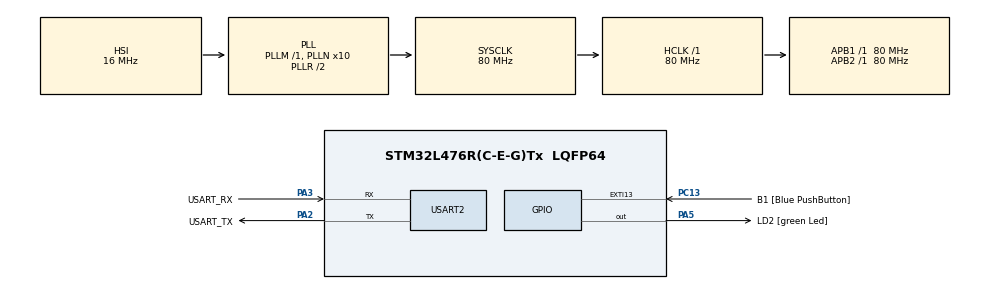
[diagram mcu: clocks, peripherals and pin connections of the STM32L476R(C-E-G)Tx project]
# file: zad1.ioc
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ARM.CMSIS-DSP.1.16.2.CMSISJjDSP=Source
ARM.CMSIS.6.2.0.CMSISJjCORE=true
Mcu.Family=STM32L4
Mcu.Name=STM32L476R(C-E-G)Tx
Mcu.Package=LQFP64
NVIC.PriorityGroup=NVIC_PRIORITYGROUP_4
PA13\ (JTMS-SWDIO).GPIO_Label=TMS
PA13\ (JTMS-SWDIO).Mode=Serial_Wire
PA13\ (JTMS-SWDIO).Signal=SYS_JTMS-SWDIO
PA14\ (JTCK-SWCLK).GPIO_Label=TCK
PA14\ (JTCK-SWCLK).Mode=Serial_Wire
PA14\ (JTCK-SWCLK).Signal=SYS_JTCK-SWCLK
PA2.GPIO_Label=USART_TX
PA2.GPIO_Mode=GPIO_MODE_AF_PP
PA2.GPIO_PuPd=GPIO_NOPULL
PA2.GPIO_Speed=GPIO_SPEED_FREQ_VERY_HIGH
PA2.Mode=Asynchronous
PA2.Signal=USART2_TX
PA3.GPIO_Label=USART_RX
PA3.GPIO_Mode=GPIO_MODE_AF_PP
PA3.GPIO_PuPd=GPIO_NOPULL
PA3.GPIO_Speed=GPIO_SPEED_FREQ_VERY_HIGH
PA3.Mode=Asynchronous
PA3.Signal=USART2_RX
PA5.GPIO_Label=LD2 [green Led]
PA5.GPIO_ModeDefaultOutputPP=GPIO_MODE_OUTPUT_PP
PA5.GPIO_PuPd=GPIO_NOPULL
PA5.GPIO_Speed=GPIO_SPEED_FREQ_LOW
PA5.Signal=GPIO_Output
PB3\ (JTDO-TRACESWO).GPIO_Label=SWO
PB3\ (JTDO-TRACESWO).Signal=SYS_JTDO-SWO
PC13.GPIO_Label=B1 [Blue PushButton]
PC13.GPIO_ModeDefaultEXTI=GPIO_MODE_IT_FALLING
PC13.GPIO_PuPd=GPIO_NOPULL
PC13.Signal=GPXTI13
PC14-OSC32_IN\ (PC14).Mode=LSE-External-Oscillator
PC14-OSC32_IN\ (PC14).Signal=RCC_OSC32_IN
PC15-OSC32_OUT\ (PC15).Mode=LSE-External-Oscillator
PC15-OSC32_OUT\ (PC15).Signal=RCC_OSC32_OUT
PH0-OSC_IN\ (PH0).Signal=RCC_OSC_IN
PH1-OSC_OUT\ (PH1).Signal=RCC_OSC_OUT
ProjectManager.HeapSize=0x200
ProjectManager.StackSize=0x400
ProjectManager.TargetToolchain=STM32CubeIDE
RCC.ADCFreq_Value=64000000
RCC.AHBFreq_Value=80000000
RCC.APB1Freq_Value=80000000
RCC.APB1TimFreq_Value=80000000
RCC.APB2Freq_Value=80000000
RCC.APB2TimFreq_Value=80000000
RCC.CortexFreq_Value=80000000
RCC.HCLKFreq_Value=80000000
RCC.HSE_VALUE=8000000
RCC.HSI_VALUE=16000000
RCC.MSI_VALUE=4000000
RCC.PLLN=10
RCC.PLLSourceVirtual=RCC_PLLSOURCE_HSI
RCC.PREFETCH_ENABLE=1
RCC.SYSCLKFreq_VALUE=80000000
RCC.SYSCLKSource=RCC_SYSCLKSOURCE_PLLCLK
RCC.USBFreq_Value=64000000
RCC.VCOOutputFreq_Value=160000000
USART2.VirtualMode-Asynchronous=VM_ASYNC
VP_ARM.CMSIS-DSP_VS_CMSISJjDSP_1.16.2_1.16.2.Mode=CMSISJjDSP
VP_ARM.CMSIS_VS_CMSISJjCORE_6.1.1_6.2.0.Mode=CMSISJjCORE
board=NUCLEO-L476RG

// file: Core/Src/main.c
/* USER CODE BEGIN Header */
/**
  ******************************************************************************
  * @file           : main.c
  * @brief          : Main program body
  ******************************************************************************
  * @attention
  *
  * Copyright (c) 2025 STMicroelectronics.
  * All rights reserved.
  *
  * This software is licensed under terms that can be found in the LICENSE file
  * in the root directory of this software component.
  * If no LICENSE file comes with this software, it is provided AS-IS.
  *
  ******************************************************************************
  */
/* USER CODE END Header */
#include "main.h"
#include "usart.h"
#include "gpio.h"

/* USER CODE BEGIN Includes */
#include "arm_math.h"
#include <math.h>
#include <stdio.h>
#include "A_mat.h"
#include "B_mat.h"
#include "C_mat.h"
#include "C_REF_mat.h"

/* USER CODE END Includes */

/* USER CODE BEGIN PD */
#define MATRIX_COLUMNS 4
#define MATRIX_ROWS 4
#define RMSE_TOL 1e-6f

/* USER CODE END PD */

void SystemClock_Config(void);

/* USER CODE BEGIN 0 */
int __io_putchar(char ch)
{
	uint8_t chx;
	if(ch == '\n')
	{
		chx = '\r';
		HAL_UART_Transmit(&huart2, &chx, 1, HAL_MAX_DELAY);
	}
	chx = ch;
	HAL_UART_Transmit(&huart2, &chx, 1, HAL_MAX_DELAY);
	return 1;
}

float32_t RMSE ( const float32_t * y , const float32_t * yref , const uint32_t len )
{
	float32_t err [ len ];
	arm_sub_f32 ( yref , y , err , len ) ;
	float32_t rmse ;
	arm_rms_f32 ( err , len , & rmse ) ;
	return rmse ;
}

/* USER CODE END 0 */

int main(void)
{

  /* MCU Configuration--------------------------------------------------------*/

  /* Reset of all peripherals, Initializes the Flash interface and the Systick. */
  HAL_Init();

  /* Configure the system clock */
  SystemClock_Config();

  /* Initialize all configured peripherals */
  MX_GPIO_Init();
  MX_USART2_UART_Init();
  /* USER CODE BEGIN 2 */

  arm_mat_init_f32(&A, A_ROWS, A_COLS , (float32_t*)A_DATA);
  arm_mat_init_f32(&B, B_ROWS, B_COLS, (float32_t*)B_DATA);
  arm_mat_init_f32(&C, C_ROWS, C_COLS, (float32_t*)C_DATA);

  arm_status status = arm_mat_mult_f32(&A, &B, &C);
  float32_t rmse = RMSE(C_DATA,C_REF_DATA, C_ROWS);

  printf("CMSIS result:\n");
  for(int i = 0; i < C_ROWS; i++)
  {
	  printf("%f\n", C_DATA[i]);
  }
  printf("RMSE = %f\n",rmse);

  if(status == ARM_MATH_SUCCESS && rmse < RMSE_TOL)
  {
	  printf("TEST ZAKONCZONY SUKCESEM\n");
  }
  else
  {
	  printf("TEST ZAKONCZONY NIEPOWODZENIEM\n");
  }
  /* USER CODE END 2 */

  /* Infinite loop */
  while (1)
  {

  }
}

void SystemClock_Config(void)
{
  RCC_OscInitTypeDef RCC_OscInitStruct = {0};
  RCC_ClkInitTypeDef RCC_ClkInitStruct = {0};

  /** Configure the main internal regulator output voltage
  */
  if (HAL_PWREx_ControlVoltageScaling(PWR_REGULATOR_VOLTAGE_SCALE1) != HAL_OK)
  {
    Error_Handler();
  }

  /** Initializes the RCC Oscillators according to the specified parameters
  * in the RCC_OscInitTypeDef structure.
  */
  RCC_OscInitStruct.OscillatorType = RCC_OSCILLATORTYPE_HSI;
  RCC_OscInitStruct.HSIState = RCC_HSI_ON;
  RCC_OscInitStruct.HSICalibrationValue = RCC_HSICALIBRATION_DEFAULT;
  RCC_OscInitStruct.PLL.PLLState = RCC_PLL_ON;
  RCC_OscInitStruct.PLL.PLLSource = RCC_PLLSOURCE_HSI;
  RCC_OscInitStruct.PLL.PLLM = 1;
  RCC_OscInitStruct.PLL.PLLN = 10;
  RCC_OscInitStruct.PLL.PLLP = RCC_PLLP_DIV7;
  RCC_OscInitStruct.PLL.PLLQ = RCC_PLLQ_DIV2;
  RCC_OscInitStruct.PLL.PLLR = RCC_PLLR_DIV2;
  if (HAL_RCC_OscConfig(&RCC_OscInitStruct) != HAL_OK)
  {
    Error_Handler();
  }

  /** Initializes the CPU, AHB and APB buses clocks
  */
  RCC_ClkInitStruct.ClockType = RCC_CLOCKTYPE_HCLK|RCC_CLOCKTYPE_SYSCLK
                              |RCC_CLOCKTYPE_PCLK1|RCC_CLOCKTYPE_PCLK2;
  RCC_ClkInitStruct.SYSCLKSource = RCC_SYSCLKSOURCE_PLLCLK;
  RCC_ClkInitStruct.AHBCLKDivider = RCC_SYSCLK_DIV1;
  RCC_ClkInitStruct.APB1CLKDivider = RCC_HCLK_DIV1;
  RCC_ClkInitStruct.APB2CLKDivider = RCC_HCLK_DIV1;

  if (HAL_RCC_ClockConfig(&RCC_ClkInitStruct, FLASH_LATENCY_4) != HAL_OK)
  {
    Error_Handler();
  }
}

void Error_Handler(void)
{
  __disable_irq();
  while (1)
  {
  }
}
